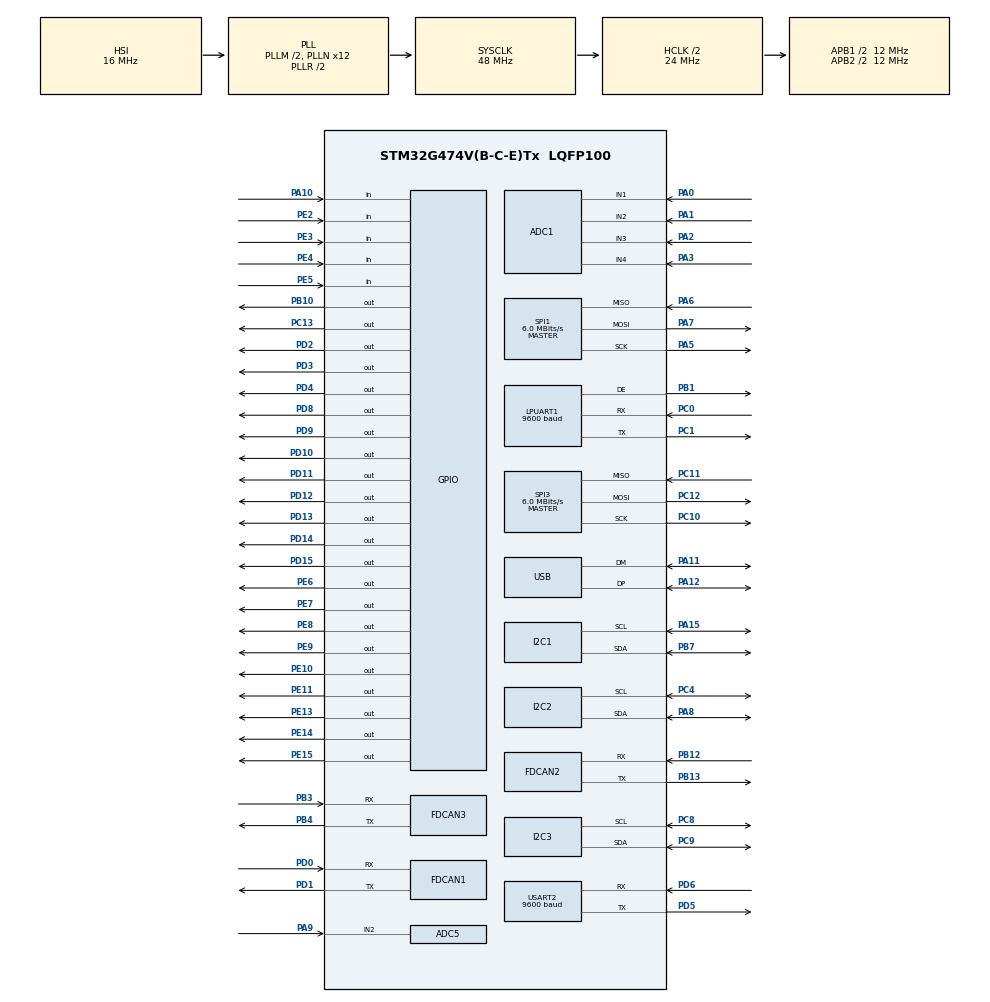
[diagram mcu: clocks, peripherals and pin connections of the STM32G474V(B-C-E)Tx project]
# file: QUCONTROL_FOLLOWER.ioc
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ADC1.Channel-4\#ChannelRegularConversion=ADC_CHANNEL_1
ADC1.Channel-5\#ChannelRegularConversion=ADC_CHANNEL_2
ADC1.Channel-6\#ChannelRegularConversion=ADC_CHANNEL_3
ADC1.Channel-7\#ChannelRegularConversion=ADC_CHANNEL_4
ADC1.ContinuousConvMode=ENABLE
ADC1.DiscontinuousConvMode=DISABLE
ADC1.EOCSelection=ADC_EOC_SEQ_CONV
ADC1.NbrOfConversion=4
ADC1.NbrOfConversionFlag=1
ADC1.OffsetNumber-4\#ChannelRegularConversion=ADC_OFFSET_NONE
ADC1.OffsetNumber-5\#ChannelRegularConversion=ADC_OFFSET_NONE
ADC1.OffsetNumber-6\#ChannelRegularConversion=ADC_OFFSET_NONE
ADC1.OffsetNumber-7\#ChannelRegularConversion=ADC_OFFSET_NONE
ADC1.Rank-4\#ChannelRegularConversion=1
ADC1.Rank-5\#ChannelRegularConversion=2
ADC1.Rank-6\#ChannelRegularConversion=3
ADC1.Rank-7\#ChannelRegularConversion=4
ADC1.SamplingTime-4\#ChannelRegularConversion=ADC_SAMPLETIME_2CYCLES_5
ADC1.SamplingTime-5\#ChannelRegularConversion=ADC_SAMPLETIME_2CYCLES_5
ADC1.SamplingTime-6\#ChannelRegularConversion=ADC_SAMPLETIME_2CYCLES_5
ADC1.SamplingTime-7\#ChannelRegularConversion=ADC_SAMPLETIME_2CYCLES_5
ADC1.master=1
ADC5.Channel-2\#ChannelRegularConversion=ADC_CHANNEL_2
ADC5.NbrOfConversionFlag=1
ADC5.OffsetNumber-2\#ChannelRegularConversion=ADC_OFFSET_NONE
ADC5.Rank-2\#ChannelRegularConversion=1
ADC5.SamplingTime-2\#ChannelRegularConversion=ADC_SAMPLETIME_2CYCLES_5
Dma.ADC1.0.Direction=DMA_PERIPH_TO_MEMORY
Dma.ADC1.0.EventEnable=DISABLE
Dma.ADC1.0.Instance=DMA1_Channel1
Dma.ADC1.0.MemDataAlignment=DMA_MDATAALIGN_WORD
Dma.ADC1.0.MemInc=DMA_MINC_ENABLE
Dma.ADC1.0.Mode=DMA_CIRCULAR
Dma.ADC1.0.PeriphDataAlignment=DMA_PDATAALIGN_WORD
Dma.ADC1.0.PeriphInc=DMA_PINC_DISABLE
Dma.ADC1.0.Polarity=HAL_DMAMUX_REQ_GEN_RISING
Dma.ADC1.0.Priority=DMA_PRIORITY_LOW
Dma.ADC1.0.RequestNumber=1
Dma.ADC1.0.SignalID=NONE
Dma.ADC1.0.SyncEnable=DISABLE
Dma.ADC1.0.SyncPolarity=HAL_DMAMUX_SYNC_NO_EVENT
Dma.ADC1.0.SyncRequestNumber=1
Dma.ADC1.0.SyncSignalID=NONE
Dma.ADC5.4.Direction=DMA_PERIPH_TO_MEMORY
Dma.ADC5.4.EventEnable=DISABLE
Dma.ADC5.4.Instance=DMA1_Channel5
Dma.ADC5.4.MemDataAlignment=DMA_MDATAALIGN_HALFWORD
Dma.ADC5.4.MemInc=DMA_MINC_ENABLE
Dma.ADC5.4.Mode=DMA_NORMAL
Dma.ADC5.4.PeriphDataAlignment=DMA_PDATAALIGN_HALFWORD
Dma.ADC5.4.PeriphInc=DMA_PINC_DISABLE
Dma.ADC5.4.Polarity=HAL_DMAMUX_REQ_GEN_RISING
Dma.ADC5.4.Priority=DMA_PRIORITY_LOW
Dma.ADC5.4.RequestNumber=1
Dma.ADC5.4.SignalID=NONE
Dma.ADC5.4.SyncEnable=DISABLE
Dma.ADC5.4.SyncPolarity=HAL_DMAMUX_SYNC_NO_EVENT
Dma.ADC5.4.SyncRequestNumber=1
Dma.ADC5.4.SyncSignalID=NONE
Dma.I2C1_RX.1.Direction=DMA_PERIPH_TO_MEMORY
Dma.I2C1_RX.1.EventEnable=DISABLE
Dma.I2C1_RX.1.Instance=DMA1_Channel2
Dma.I2C1_RX.1.MemDataAlignment=DMA_MDATAALIGN_BYTE
Dma.I2C1_RX.1.MemInc=DMA_MINC_ENABLE
Dma.I2C1_RX.1.Mode=DMA_NORMAL
Dma.I2C1_RX.1.PeriphDataAlignment=DMA_PDATAALIGN_BYTE
Dma.I2C1_RX.1.PeriphInc=DMA_PINC_DISABLE
Dma.I2C1_RX.1.Polarity=HAL_DMAMUX_REQ_GEN_RISING
Dma.I2C1_RX.1.Priority=DMA_PRIORITY_LOW
Dma.I2C1_RX.1.RequestNumber=1
Dma.I2C1_RX.1.SignalID=NONE
Dma.I2C1_RX.1.SyncEnable=DISABLE
Dma.I2C1_RX.1.SyncPolarity=HAL_DMAMUX_SYNC_NO_EVENT
Dma.I2C1_RX.1.SyncRequestNumber=1
Dma.I2C1_RX.1.SyncSignalID=NONE
Dma.I2C1_TX.2.Direction=DMA_MEMORY_TO_PERIPH
Dma.I2C1_TX.2.EventEnable=DISABLE
Dma.I2C1_TX.2.Instance=DMA1_Channel3
Dma.I2C1_TX.2.MemDataAlignment=DMA_MDATAALIGN_BYTE
Dma.I2C1_TX.2.MemInc=DMA_MINC_ENABLE
Dma.I2C1_TX.2.Mode=DMA_NORMAL
Dma.I2C1_TX.2.PeriphDataAlignment=DMA_PDATAALIGN_BYTE
Dma.I2C1_TX.2.PeriphInc=DMA_PINC_DISABLE
Dma.I2C1_TX.2.Polarity=HAL_DMAMUX_REQ_GEN_RISING
Dma.I2C1_TX.2.Priority=DMA_PRIORITY_LOW
Dma.I2C1_TX.2.RequestNumber=1
Dma.I2C1_TX.2.SignalID=NONE
Dma.I2C1_TX.2.SyncEnable=DISABLE
Dma.I2C1_TX.2.SyncPolarity=HAL_DMAMUX_SYNC_NO_EVENT
Dma.I2C1_TX.2.SyncRequestNumber=1
Dma.I2C1_TX.2.SyncSignalID=NONE
Dma.I2C3_RX.3.Direction=DMA_PERIPH_TO_MEMORY
Dma.I2C3_RX.3.EventEnable=DISABLE
Dma.I2C3_RX.3.Instance=DMA1_Channel4
Dma.I2C3_RX.3.MemDataAlignment=DMA_MDATAALIGN_BYTE
Dma.I2C3_RX.3.MemInc=DMA_MINC_ENABLE
Dma.I2C3_RX.3.Mode=DMA_NORMAL
Dma.I2C3_RX.3.PeriphDataAlignment=DMA_PDATAALIGN_BYTE
Dma.I2C3_RX.3.PeriphInc=DMA_PINC_DISABLE
Dma.I2C3_RX.3.Polarity=HAL_DMAMUX_REQ_GEN_RISING
Dma.I2C3_RX.3.Priority=DMA_PRIORITY_LOW
Dma.I2C3_RX.3.RequestNumber=1
Dma.I2C3_RX.3.SignalID=NONE
Dma.I2C3_RX.3.SyncEnable=DISABLE
Dma.I2C3_RX.3.SyncPolarity=HAL_DMAMUX_SYNC_NO_EVENT
Dma.I2C3_RX.3.SyncRequestNumber=1
Dma.I2C3_RX.3.SyncSignalID=NONE
Dma.Request0=ADC1
Dma.Request1=I2C1_RX
Dma.Request2=I2C1_TX
Dma.Request3=I2C3_RX
Dma.Request4=ADC5
FDCAN1.AutoRetransmission=ENABLE
FDCAN1.CalculateBaudRateNominal=141176
FDCAN1.CalculateTimeBitNominal=7083
FDCAN1.CalculateTimeQuantumNominal=41.666666666666664
FDCAN1.DataPrescaler=17
FDCAN1.DataSyncJumpWidth=4
FDCAN1.DataTimeSeg1=5
FDCAN1.DataTimeSeg2=4
FDCAN1.FrameFormat=FDCAN_FRAME_FD_BRS
FDCAN1.NominalPrescaler=2
FDCAN1.NominalSyncJumpWidth=2
FDCAN1.NominalTimeSeg1=167
FDCAN2.AutoRetransmission=ENABLE
FDCAN2.CalculateBaudRateNominal=141176
FDCAN2.CalculateTimeBitNominal=7083
FDCAN2.CalculateTimeQuantumNominal=41.666666666666664
FDCAN2.DataPrescaler=17
FDCAN2.DataSyncJumpWidth=4
FDCAN2.DataTimeSeg1=5
FDCAN2.DataTimeSeg2=4
FDCAN2.FrameFormat=FDCAN_FRAME_FD_BRS
FDCAN2.NominalPrescaler=2
FDCAN2.NominalSyncJumpWidth=2
FDCAN2.NominalTimeSeg1=167
FDCAN3.AutoRetransmission=ENABLE
FDCAN3.CalculateBaudRateNominal=141176
FDCAN3.CalculateTimeBitNominal=7083
FDCAN3.CalculateTimeQuantumNominal=41.666666666666664
FDCAN3.DataPrescaler=17
FDCAN3.DataSyncJumpWidth=4
FDCAN3.DataTimeSeg1=5
FDCAN3.DataTimeSeg2=4
FDCAN3.FrameFormat=FDCAN_FRAME_FD_BRS
FDCAN3.NominalPrescaler=2
FDCAN3.NominalSyncJumpWidth=2
FDCAN3.NominalTimeSeg1=167
I2C1.Timing=0x40000A0B
I2C2.Timing=0x40000A0B
I2C3.Timing=0x40000A0B
LPUART1.BaudRate=9600
LPUART1.StopBits=UART_STOPBITS_1
Mcu.Family=STM32G4
Mcu.Name=STM32G474V(B-C-E)Tx
Mcu.Package=LQFP100
NVIC.ADC1_2_IRQn=true\:0\:0\:false\:false\:true\:true\:true\:true
NVIC.DMA1_Channel1_IRQn=true\:0\:0\:false\:false\:true\:false\:true\:true
NVIC.DMA1_Channel2_IRQn=true\:0\:0\:false\:false\:true\:false\:true\:true
NVIC.DMA1_Channel3_IRQn=true\:0\:0\:false\:false\:true\:false\:true\:true
NVIC.DMA1_Channel4_IRQn=true\:0\:0\:false\:false\:true\:false\:true\:true
NVIC.DMA1_Channel5_IRQn=true\:0\:0\:false\:false\:true\:false\:true\:true
NVIC.FDCAN1_IT0_IRQn=true\:0\:0\:false\:false\:true\:true\:true\:true
NVIC.FDCAN2_IT0_IRQn=true\:0\:0\:false\:false\:true\:true\:true\:true
NVIC.FDCAN3_IT1_IRQn=true\:0\:0\:false\:false\:true\:true\:true\:true
NVIC.PriorityGroup=NVIC_PRIORITYGROUP_4
NVIC.TIM2_IRQn=true\:0\:0\:false\:false\:true\:true\:true\:true
NVIC.TIM6_DAC_IRQn=true\:0\:0\:false\:false\:true\:true\:true\:true
PA0.Mode=IN1-Single-Ended
PA0.Signal=ADC1_IN1
PA1.Mode=IN2-Single-Ended
PA1.Signal=ADC1_IN2
PA10.Signal=GPIO_Input
PA11.Mode=Device
PA11.Signal=USB_DM
PA12.Mode=Device
PA12.Signal=USB_DP
PA13.Mode=Serial_Wire
PA13.Signal=SYS_JTMS-SWDIO
PA14.Mode=Serial_Wire
PA14.Signal=SYS_JTCK-SWCLK
PA15.Mode=I2C
PA15.Signal=I2C1_SCL
PA2.Mode=IN3-Single-Ended
PA2.Signal=ADC1_IN3
PA3.Mode=IN4-Single-Ended
PA3.Signal=ADC1_IN4
PA5.Mode=Full_Duplex_Master
PA5.Signal=SPI1_SCK
PA6.Mode=Full_Duplex_Master
PA6.Signal=SPI1_MISO
PA7.Mode=Full_Duplex_Master
PA7.Signal=SPI1_MOSI
PA8.Mode=I2C
PA8.Signal=I2C2_SDA
PA9.Mode=IN2-Single-Ended
PA9.Signal=ADC5_IN2
PB1.Mode=Hardware Flow Control (RS485)
PB1.Signal=LPUART1_DE
PB10.PinState=GPIO_PIN_SET
PB10.Signal=GPIO_Output
PB12.Mode=FDCAN_Activate
PB12.Signal=FDCAN2_RX
PB13.Mode=FDCAN_Activate
PB13.Signal=FDCAN2_TX
PB3.Mode=FDCAN_Activate
PB3.Signal=FDCAN3_RX
PB4.Mode=FDCAN_Activate
PB4.Signal=FDCAN3_TX
PB7.Mode=I2C
PB7.Signal=I2C1_SDA
PC0.Mode=Asynchronous
PC0.Signal=LPUART1_RX
PC1.Mode=Asynchronous
PC1.Signal=LPUART1_TX
PC10.Mode=Full_Duplex_Master
PC10.Signal=SPI3_SCK
PC11.Mode=Full_Duplex_Master
PC11.Signal=SPI3_MISO
PC12.Mode=Full_Duplex_Master
PC12.Signal=SPI3_MOSI
PC13.Signal=GPIO_Output
PC4.Mode=I2C
PC4.Signal=I2C2_SCL
PC8.Mode=I2C
PC8.Signal=I2C3_SCL
PC9.Mode=I2C
PC9.Signal=I2C3_SDA
PD0.Mode=FDCAN_Activate
PD0.Signal=FDCAN1_RX
PD1.Mode=FDCAN_Activate
PD1.Signal=FDCAN1_TX
PD10.PinState=GPIO_PIN_SET
PD10.Signal=GPIO_Output
PD11.PinState=GPIO_PIN_SET
PD11.Signal=GPIO_Output
PD12.PinState=GPIO_PIN_SET
PD12.Signal=GPIO_Output
PD13.PinState=GPIO_PIN_SET
PD13.Signal=GPIO_Output
PD14.PinState=GPIO_PIN_SET
PD14.Signal=GPIO_Output
PD15.PinState=GPIO_PIN_SET
PD15.Signal=GPIO_Output
PD2.Signal=GPIO_Output
PD3.Signal=GPIO_Output
PD4.Signal=GPIO_Output
PD5.Mode=Asynchronous
PD5.Signal=USART2_TX
PD6.Mode=Asynchronous
PD6.Signal=USART2_RX
PD8.PinState=GPIO_PIN_SET
PD8.Signal=GPIO_Output
PD9.PinState=GPIO_PIN_SET
PD9.Signal=GPIO_Output
PE10.PinState=GPIO_PIN_SET
PE10.Signal=GPIO_Output
PE11.PinState=GPIO_PIN_SET
PE11.Signal=GPIO_Output
PE13.PinState=GPIO_PIN_SET
PE13.Signal=GPIO_Output
PE14.PinState=GPIO_PIN_SET
PE14.Signal=GPIO_Output
PE15.PinState=GPIO_PIN_SET
PE15.Signal=GPIO_Output
PE2.Signal=GPIO_Input
PE3.Signal=GPIO_Input
PE4.Signal=GPIO_Input
PE5.Signal=GPIO_Input
PE6.Signal=GPIO_Output
PE7.PinState=GPIO_PIN_SET
PE7.Signal=GPIO_Output
PE8.PinState=GPIO_PIN_SET
PE8.Signal=GPIO_Output
PE9.PinState=GPIO_PIN_SET
PE9.Signal=GPIO_Output
ProjectManager.HeapSize=0x200
ProjectManager.StackSize=0x400
ProjectManager.TargetToolchain=STM32CubeIDE
RCC.ADC12Freq_Value=48000000
RCC.ADC345Freq_Value=48000000
RCC.AHBCLKDivider=RCC_SYSCLK_DIV2
RCC.AHBFreq_Value=24000000
RCC.APB1CLKDivider=RCC_HCLK_DIV2
RCC.APB1Freq_Value=12000000
RCC.APB1TimFreq_Value=24000000
RCC.APB2CLKDivider=RCC_HCLK_DIV2
RCC.APB2Freq_Value=12000000
RCC.APB2TimFreq_Value=24000000
RCC.CK48CLockSelection=RCC_USBCLKSOURCE_HSI48
RCC.CortexFreq_Value=24000000
RCC.EXTERNAL_CLOCK_VALUE=12288000
RCC.FDCANCLockSelection=RCC_FDCANCLKSOURCE_PLL
RCC.HCLKFreq_Value=24000000
RCC.HSE_VALUE=8000000
RCC.HSI48_VALUE=48000000
RCC.HSI_VALUE=16000000
RCC.LPUART1CLockSelection=RCC_LPUART1CLKSOURCE_HSI
RCC.PLLM=RCC_PLLM_DIV2
RCC.PLLN=12
RCC.SYSCLKFreq_VALUE=48000000
RCC.SYSCLKSource=RCC_SYSCLKSOURCE_PLLCLK
RCC.USBFreq_Value=48000000
RCC.VCOOutputFreq_Value=96000000
SPI1.BaudRatePrescaler=SPI_BAUDRATEPRESCALER_2
SPI1.CalculateBaudRate=6.0 MBits/s
SPI1.Direction=SPI_DIRECTION_2LINES
SPI1.Mode=SPI_MODE_MASTER
SPI1.VirtualType=VM_MASTER
SPI3.BaudRatePrescaler=SPI_BAUDRATEPRESCALER_2
SPI3.CalculateBaudRate=6.0 MBits/s
SPI3.Direction=SPI_DIRECTION_2LINES
SPI3.Mode=SPI_MODE_MASTER
SPI3.VirtualType=VM_MASTER
TIM2.CounterMode=TIM_COUNTERMODE_DOWN
TIM2.PeriodNoDither=5000000
TIM2.Prescaler=1699
TIM6.PeriodNoDither=65358
TIM6.Prescaler=26009
USART2.BaudRate=9600
USART2.VirtualMode-Asynchronous=VM_ASYNC
USB.battery_charging_enable=DISABLE
VP_IWDG_VS_IWDG.Mode=IWDG_Activate
VP_SYS_VS_DBSignals.Mode=DisableDeadBatterySignals
VP_TIM2_VS_ClockSourceINT.Mode=Internal
VP_TIM6_VS_ClockSourceINT.Mode=Enable_Timer
board=custom

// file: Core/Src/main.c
/* USER CODE BEGIN Header */
/**
 ******************************************************************************
 * @file           : main.c
 * @brief          : Main program body
 ******************************************************************************
 * @attention
 *
 * Copyright (c) 2024 STMicroelectronics.
 * All rights reserved.
 *
 * This software is licensed under terms that can be found in the LICENSE file
 * in the root directory of this software component.
 * If no LICENSE file comes with this software, it is provided AS-IS.
 *
 ******************************************************************************
 */
/* USER CODE END Header */
#include "main.h"

/* USER CODE BEGIN Includes */
#include <string.h>
#include <stdio.h>

/* USER CODE END Includes */

/* USER CODE BEGIN PD */
uint8_t test = 0;
/* USER CODE END PD */

ADC_HandleTypeDef hadc1;
ADC_HandleTypeDef hadc5;
DMA_HandleTypeDef hdma_adc1;
DMA_HandleTypeDef hdma_adc5;

FDCAN_HandleTypeDef hfdcan1;
FDCAN_HandleTypeDef hfdcan2;
FDCAN_HandleTypeDef hfdcan3;

I2C_HandleTypeDef hi2c1;
I2C_HandleTypeDef hi2c2;
I2C_HandleTypeDef hi2c3;
DMA_HandleTypeDef hdma_i2c1_rx;
DMA_HandleTypeDef hdma_i2c1_tx;
DMA_HandleTypeDef hdma_i2c3_rx;

IWDG_HandleTypeDef hiwdg;

UART_HandleTypeDef hlpuart1;
UART_HandleTypeDef huart2;

SPI_HandleTypeDef hspi1;
SPI_HandleTypeDef hspi3;

TIM_HandleTypeDef htim2;
TIM_HandleTypeDef htim6;

PCD_HandleTypeDef hpcd_USB_FS;

/* USER CODE BEGIN PV */
volatile uint8_t Fault_Flag;
uint8_t ISO_STATE;
PodState Curr_State = INIT;

/* USER CODE END PV */

void SystemClock_Config(void);
static void MX_GPIO_Init(void);
static void MX_DMA_Init(void);
static void MX_ADC1_Init(void);
static void MX_FDCAN1_Init(void);
static void MX_FDCAN2_Init(void);
static void MX_FDCAN3_Init(void);
static void MX_I2C1_Init(void);
static void MX_SPI1_Init(void);
static void MX_USB_PCD_Init(void);
static void MX_I2C2_Init(void);
static void MX_IWDG_Init(void);
static void MX_ADC5_Init(void);
static void MX_I2C3_Init(void);
static void MX_SPI3_Init(void);
static void MX_LPUART1_UART_Init(void);
static void MX_TIM2_Init(void);
static void MX_USART2_UART_Init(void);
static void MX_TIM6_Init(void);

/* USER CODE BEGIN 0 */
uint8_t Run_State(PodState state) {
	uint8_t status = 0;

	switch (state) {
	case INIT:

		//if(TEMP_INIT() != TEMP_INIT_SUCCESS){
		//	return 1;
		//}
		/*if(acc_init() != ACC_INIT_OK){
		 return 1;
		 }
		 if(CAN_INIT() != CAN_INIT_OK){
		 return 1;
		 }*/

		pump_control(1);

		//UPDATE_TEMP();
		Curr_State = SAFE_TO_APPROACH;
		return 0;
		break;
	case FAULT:
		HV_off();
		yellowstatus(0);
		greenstatus(0);
		redstatus(1);
		pump_control(0);
		brake_state(0);

		return status;
		break;
	case SAFE_TO_APPROACH:
		/*HV_off();
		 yellowstatus(0);
		 greenstatus(0);
		 brake_state(1);*/

		return status;
		break;
	case READY:
		precharge();
		yellowstatus(1);
		brake_state(0);
		return status;
		break;
	case LAUNCH:
		yellowstatus(0);
		greenstatus(1);

		return status;
		break;
	case COAST:
		yellowstatus(0);
		greenstatus(1);

		return status;
		break;
	case BRAKE:
		yellowstatus(0);
		greenstatus(1);
		brake_state(1);

		return status;
		break;
	case CRAWL:
		yellowstatus(0);
		greenstatus(1);
		brake_state(0);

		return status;
		break;
	case TRACK:
		HV_off();
		yellowstatus(0);
		greenstatus(0);
		brake_state(0);

		return status;
		break;
	default:
		Curr_State = FAULT;
		//invalid state
		return 1;
		break;
	}
}

/* USER CODE END 0 */

int main(void)
{
  /* USER CODE BEGIN 1 */
	//uint16_t timer_val;
  /* USER CODE END 1 */

  /* MCU Configuration--------------------------------------------------------*/

  /* Reset of all peripherals, Initializes the Flash interface and the Systick. */
  HAL_Init();

  /* Configure the system clock */
  SystemClock_Config();

  /* Initialize all configured peripherals */
  MX_GPIO_Init();
  MX_DMA_Init();
  MX_ADC1_Init();
  MX_FDCAN1_Init();
  MX_FDCAN2_Init();
  MX_FDCAN3_Init();
  MX_I2C1_Init();
  MX_SPI1_Init();
  MX_USB_PCD_Init();
  MX_I2C2_Init();
  MX_IWDG_Init();
  MX_ADC5_Init();
  MX_I2C3_Init();
  MX_SPI3_Init();
  MX_LPUART1_UART_Init();
  MX_TIM2_Init();
  MX_USART2_UART_Init();
  MX_TIM6_Init();
  /* USER CODE BEGIN 2 */

	//timer_val = __HAL_TIM_GET_COUNTER(&htim6);

	//Fault_Flag = Run_State(Curr_State);
	//HAL_TIM_Base_Start_IT(&htim6);
	//HAL_TIM_Base_Start_IT(&htim6);
	//HAL_GPIO_WritePin(GPIOD, GPIO_PIN_11, GPIO_PIN_SET);
  /* USER CODE END 2 */

  /* Infinite loop */
  /* USER CODE BEGIN WHILE */
	while (1) {
		HAL_GPIO_TogglePin(GPIOD, GPIO_PIN_15);
		HAL_Delay(500);

		//Fault_Flag = Run_State(Curr_State);
		//if(Fault_Flag != 0){
		//  Curr_State = FAULT;
		// }

		//HAL_UART_Transmit(&huart2,(uint8_t *)temps[4],sizeof(temps[4]),100);

    /* USER CODE END WHILE */

	}
}

void SystemClock_Config(void)
{
  RCC_OscInitTypeDef RCC_OscInitStruct = {0};
  RCC_ClkInitTypeDef RCC_ClkInitStruct = {0};

  /** Configure the main internal regulator output voltage
  */
  HAL_PWREx_ControlVoltageScaling(PWR_REGULATOR_VOLTAGE_SCALE1);

  /** Initializes the RCC Oscillators according to the specified parameters
  * in the RCC_OscInitTypeDef structure.
  */
  RCC_OscInitStruct.OscillatorType = RCC_OSCILLATORTYPE_HSI|RCC_OSCILLATORTYPE_HSI48
                              |RCC_OSCILLATORTYPE_LSI;
  RCC_OscInitStruct.HSIState = RCC_HSI_ON;
  RCC_OscInitStruct.HSICalibrationValue = RCC_HSICALIBRATION_DEFAULT;
  RCC_OscInitStruct.LSIState = RCC_LSI_ON;
  RCC_OscInitStruct.HSI48State = RCC_HSI48_ON;
  RCC_OscInitStruct.PLL.PLLState = RCC_PLL_ON;
  RCC_OscInitStruct.PLL.PLLSource = RCC_PLLSOURCE_HSI;
  RCC_OscInitStruct.PLL.PLLM = RCC_PLLM_DIV2;
  RCC_OscInitStruct.PLL.PLLN = 12;
  RCC_OscInitStruct.PLL.PLLP = RCC_PLLP_DIV2;
  RCC_OscInitStruct.PLL.PLLQ = RCC_PLLQ_DIV2;
  RCC_OscInitStruct.PLL.PLLR = RCC_PLLR_DIV2;
  if (HAL_RCC_OscConfig(&RCC_OscInitStruct) != HAL_OK)
  {
    Error_Handler();
  }

  /** Initializes the CPU, AHB and APB buses clocks
  */
  RCC_ClkInitStruct.ClockType = RCC_CLOCKTYPE_HCLK|RCC_CLOCKTYPE_SYSCLK
                              |RCC_CLOCKTYPE_PCLK1|RCC_CLOCKTYPE_PCLK2;
  RCC_ClkInitStruct.SYSCLKSource = RCC_SYSCLKSOURCE_PLLCLK;
  RCC_ClkInitStruct.AHBCLKDivider = RCC_SYSCLK_DIV2;
  RCC_ClkInitStruct.APB1CLKDivider = RCC_HCLK_DIV2;
  RCC_ClkInitStruct.APB2CLKDivider = RCC_HCLK_DIV2;

  if (HAL_RCC_ClockConfig(&RCC_ClkInitStruct, FLASH_LATENCY_0) != HAL_OK)
  {
    Error_Handler();
  }
}

static void MX_ADC1_Init(void)
{

  ADC_MultiModeTypeDef multimode = {0};
  ADC_ChannelConfTypeDef sConfig = {0};

  /** Common config
  */
  hadc1.Instance = ADC1;
  hadc1.Init.ClockPrescaler = ADC_CLOCK_SYNC_PCLK_DIV2;
  hadc1.Init.Resolution = ADC_RESOLUTION_12B;
  hadc1.Init.DataAlign = ADC_DATAALIGN_RIGHT;
  hadc1.Init.GainCompensation = 0;
  hadc1.Init.ScanConvMode = ADC_SCAN_ENABLE;
  hadc1.Init.EOCSelection = ADC_EOC_SEQ_CONV;
  hadc1.Init.LowPowerAutoWait = DISABLE;
  hadc1.Init.ContinuousConvMode = ENABLE;
  hadc1.Init.NbrOfConversion = 4;
  hadc1.Init.DiscontinuousConvMode = DISABLE;
  hadc1.Init.ExternalTrigConv = ADC_SOFTWARE_START;
  hadc1.Init.ExternalTrigConvEdge = ADC_EXTERNALTRIGCONVEDGE_NONE;
  hadc1.Init.DMAContinuousRequests = DISABLE;
  hadc1.Init.Overrun = ADC_OVR_DATA_PRESERVED;
  hadc1.Init.OversamplingMode = DISABLE;
  if (HAL_ADC_Init(&hadc1) != HAL_OK)
  {
    Error_Handler();
  }

  /** Configure the ADC multi-mode
  */
  multimode.Mode = ADC_MODE_INDEPENDENT;
  if (HAL_ADCEx_MultiModeConfigChannel(&hadc1, &multimode) != HAL_OK)
  {
    Error_Handler();
  }

  /** Configure Regular Channel
  */
  sConfig.Channel = ADC_CHANNEL_1;
  sConfig.Rank = ADC_REGULAR_RANK_1;
  sConfig.SamplingTime = ADC_SAMPLETIME_2CYCLES_5;
  sConfig.SingleDiff = ADC_SINGLE_ENDED;
  sConfig.OffsetNumber = ADC_OFFSET_NONE;
  sConfig.Offset = 0;
  if (HAL_ADC_ConfigChannel(&hadc1, &sConfig) != HAL_OK)
  {
    Error_Handler();
  }

  /** Configure Regular Channel
  */
  sConfig.Channel = ADC_CHANNEL_2;
  sConfig.Rank = ADC_REGULAR_RANK_2;
  if (HAL_ADC_ConfigChannel(&hadc1, &sConfig) != HAL_OK)
  {
    Error_Handler();
  }

  /** Configure Regular Channel
  */
  sConfig.Channel = ADC_CHANNEL_3;
  sConfig.Rank = ADC_REGULAR_RANK_3;
  if (HAL_ADC_ConfigChannel(&hadc1, &sConfig) != HAL_OK)
  {
    Error_Handler();
  }

  /** Configure Regular Channel
  */
  sConfig.Channel = ADC_CHANNEL_4;
  sConfig.Rank = ADC_REGULAR_RANK_4;
  if (HAL_ADC_ConfigChannel(&hadc1, &sConfig) != HAL_OK)
  {
    Error_Handler();
  }

}

static void MX_ADC5_Init(void)
{

  ADC_ChannelConfTypeDef sConfig = {0};

  /** Common config
  */
  hadc5.Instance = ADC5;
  hadc5.Init.ClockPrescaler = ADC_CLOCK_SYNC_PCLK_DIV2;
  hadc5.Init.Resolution = ADC_RESOLUTION_12B;
  hadc5.Init.DataAlign = ADC_DATAALIGN_RIGHT;
  hadc5.Init.GainCompensation = 0;
  hadc5.Init.ScanConvMode = ADC_SCAN_DISABLE;
  hadc5.Init.EOCSelection = ADC_EOC_SINGLE_CONV;
  hadc5.Init.LowPowerAutoWait = DISABLE;
  hadc5.Init.ContinuousConvMode = DISABLE;
  hadc5.Init.NbrOfConversion = 1;
  hadc5.Init.DiscontinuousConvMode = DISABLE;
  hadc5.Init.ExternalTrigConv = ADC_SOFTWARE_START;
  hadc5.Init.ExternalTrigConvEdge = ADC_EXTERNALTRIGCONVEDGE_NONE;
  hadc5.Init.DMAContinuousRequests = DISABLE;
  hadc5.Init.Overrun = ADC_OVR_DATA_PRESERVED;
  hadc5.Init.OversamplingMode = DISABLE;
  if (HAL_ADC_Init(&hadc5) != HAL_OK)
  {
    Error_Handler();
  }

  /** Configure Regular Channel
  */
  sConfig.Channel = ADC_CHANNEL_2;
  sConfig.Rank = ADC_REGULAR_RANK_1;
  sConfig.SamplingTime = ADC_SAMPLETIME_2CYCLES_5;
  sConfig.SingleDiff = ADC_SINGLE_ENDED;
  sConfig.OffsetNumber = ADC_OFFSET_NONE;
  sConfig.Offset = 0;
  if (HAL_ADC_ConfigChannel(&hadc5, &sConfig) != HAL_OK)
  {
    Error_Handler();
  }

}

static void MX_FDCAN1_Init(void)
{

  hfdcan1.Instance = FDCAN1;
  hfdcan1.Init.ClockDivider = FDCAN_CLOCK_DIV1;
  hfdcan1.Init.FrameFormat = FDCAN_FRAME_FD_BRS;
  hfdcan1.Init.Mode = FDCAN_MODE_NORMAL;
  hfdcan1.Init.AutoRetransmission = ENABLE;
  hfdcan1.Init.TransmitPause = DISABLE;
  hfdcan1.Init.ProtocolException = DISABLE;
  hfdcan1.Init.NominalPrescaler = 2;
  hfdcan1.Init.NominalSyncJumpWidth = 2;
  hfdcan1.Init.NominalTimeSeg1 = 167;
  hfdcan1.Init.NominalTimeSeg2 = 2;
  hfdcan1.Init.DataPrescaler = 17;
  hfdcan1.Init.DataSyncJumpWidth = 4;
  hfdcan1.Init.DataTimeSeg1 = 5;
  hfdcan1.Init.DataTimeSeg2 = 4;
  hfdcan1.Init.StdFiltersNbr = 0;
  hfdcan1.Init.ExtFiltersNbr = 0;
  hfdcan1.Init.TxFifoQueueMode = FDCAN_TX_FIFO_OPERATION;
  if (HAL_FDCAN_Init(&hfdcan1) != HAL_OK)
  {
    Error_Handler();
  }

}

static void MX_FDCAN2_Init(void)
{

  hfdcan2.Instance = FDCAN2;
  hfdcan2.Init.ClockDivider = FDCAN_CLOCK_DIV1;
  hfdcan2.Init.FrameFormat = FDCAN_FRAME_FD_BRS;
  hfdcan2.Init.Mode = FDCAN_MODE_NORMAL;
  hfdcan2.Init.AutoRetransmission = ENABLE;
  hfdcan2.Init.TransmitPause = DISABLE;
  hfdcan2.Init.ProtocolException = DISABLE;
  hfdcan2.Init.NominalPrescaler = 2;
  hfdcan2.Init.NominalSyncJumpWidth = 2;
  hfdcan2.Init.NominalTimeSeg1 = 167;
  hfdcan2.Init.NominalTimeSeg2 = 2;
  hfdcan2.Init.DataPrescaler = 17;
  hfdcan2.Init.DataSyncJumpWidth = 4;
  hfdcan2.Init.DataTimeSeg1 = 5;
  hfdcan2.Init.DataTimeSeg2 = 4;
  hfdcan2.Init.StdFiltersNbr = 0;
  hfdcan2.Init.ExtFiltersNbr = 0;
  hfdcan2.Init.TxFifoQueueMode = FDCAN_TX_FIFO_OPERATION;
  if (HAL_FDCAN_Init(&hfdcan2) != HAL_OK)
  {
    Error_Handler();
  }

}

static void MX_FDCAN3_Init(void)
{

  hfdcan3.Instance = FDCAN3;
  hfdcan3.Init.ClockDivider = FDCAN_CLOCK_DIV1;
  hfdcan3.Init.FrameFormat = FDCAN_FRAME_FD_BRS;
  hfdcan3.Init.Mode = FDCAN_MODE_NORMAL;
  hfdcan3.Init.AutoRetransmission = ENABLE;
  hfdcan3.Init.TransmitPause = DISABLE;
  hfdcan3.Init.ProtocolException = DISABLE;
  hfdcan3.Init.NominalPrescaler = 2;
  hfdcan3.Init.NominalSyncJumpWidth = 2;
  hfdcan3.Init.NominalTimeSeg1 = 167;
  hfdcan3.Init.NominalTimeSeg2 = 2;
  hfdcan3.Init.DataPrescaler = 17;
  hfdcan3.Init.DataSyncJumpWidth = 4;
  hfdcan3.Init.DataTimeSeg1 = 5;
  hfdcan3.Init.DataTimeSeg2 = 4;
  hfdcan3.Init.StdFiltersNbr = 0;
  hfdcan3.Init.ExtFiltersNbr = 0;
  hfdcan3.Init.TxFifoQueueMode = FDCAN_TX_FIFO_OPERATION;
  if (HAL_FDCAN_Init(&hfdcan3) != HAL_OK)
  {
    Error_Handler();
  }

}

static void MX_I2C1_Init(void)
{

  hi2c1.Instance = I2C1;
  hi2c1.Init.Timing = 0x40000A0B;
  hi2c1.Init.OwnAddress1 = 0;
  hi2c1.Init.AddressingMode = I2C_ADDRESSINGMODE_7BIT;
  hi2c1.Init.DualAddressMode = I2C_DUALADDRESS_DISABLE;
  hi2c1.Init.OwnAddress2 = 0;
  hi2c1.Init.OwnAddress2Masks = I2C_OA2_NOMASK;
  hi2c1.Init.GeneralCallMode = I2C_GENERALCALL_DISABLE;
  hi2c1.Init.NoStretchMode = I2C_NOSTRETCH_DISABLE;
  if (HAL_I2C_Init(&hi2c1) != HAL_OK)
  {
    Error_Handler();
  }

  /** Configure Analogue filter
  */
  if (HAL_I2CEx_ConfigAnalogFilter(&hi2c1, I2C_ANALOGFILTER_ENABLE) != HAL_OK)
  {
    Error_Handler();
  }

  /** Configure Digital filter
  */
  if (HAL_I2CEx_ConfigDigitalFilter(&hi2c1, 0) != HAL_OK)
  {
    Error_Handler();
  }

}

static void MX_I2C2_Init(void)
{

  hi2c2.Instance = I2C2;
  hi2c2.Init.Timing = 0x40000A0B;
  hi2c2.Init.OwnAddress1 = 0;
  hi2c2.Init.AddressingMode = I2C_ADDRESSINGMODE_7BIT;
  hi2c2.Init.DualAddressMode = I2C_DUALADDRESS_DISABLE;
  hi2c2.Init.OwnAddress2 = 0;
  hi2c2.Init.OwnAddress2Masks = I2C_OA2_NOMASK;
  hi2c2.Init.GeneralCallMode = I2C_GENERALCALL_DISABLE;
  hi2c2.Init.NoStretchMode = I2C_NOSTRETCH_DISABLE;
  if (HAL_I2C_Init(&hi2c2) != HAL_OK)
  {
    Error_Handler();
  }

  /** Configure Analogue filter
  */
  if (HAL_I2CEx_ConfigAnalogFilter(&hi2c2, I2C_ANALOGFILTER_ENABLE) != HAL_OK)
  {
    Error_Handler();
  }

  /** Configure Digital filter
  */
  if (HAL_I2CEx_ConfigDigitalFilter(&hi2c2, 0) != HAL_OK)
  {
    Error_Handler();
  }

}

static void MX_I2C3_Init(void)
{

  hi2c3.Instance = I2C3;
  hi2c3.Init.Timing = 0x40000A0B;
  hi2c3.Init.OwnAddress1 = 0;
  hi2c3.Init.AddressingMode = I2C_ADDRESSINGMODE_7BIT;
  hi2c3.Init.DualAddressMode = I2C_DUALADDRESS_DISABLE;
  hi2c3.Init.OwnAddress2 = 0;
  hi2c3.Init.OwnAddress2Masks = I2C_OA2_NOMASK;
  hi2c3.Init.GeneralCallMode = I2C_GENERALCALL_DISABLE;
  hi2c3.Init.NoStretchMode = I2C_NOSTRETCH_DISABLE;
  if (HAL_I2C_Init(&hi2c3) != HAL_OK)
  {
    Error_Handler();
  }

  /** Configure Analogue filter
  */
  if (HAL_I2CEx_ConfigAnalogFilter(&hi2c3, I2C_ANALOGFILTER_ENABLE) != HAL_OK)
  {
    Error_Handler();
  }

  /** Configure Digital filter
  */
  if (HAL_I2CEx_ConfigDigitalFilter(&hi2c3, 0) != HAL_OK)
  {
    Error_Handler();
  }

}

static void MX_IWDG_Init(void)
{

  hiwdg.Instance = IWDG;
  hiwdg.Init.Prescaler = IWDG_PRESCALER_4;
  hiwdg.Init.Window = 4095;
  hiwdg.Init.Reload = 4095;
  if (HAL_IWDG_Init(&hiwdg) != HAL_OK)
  {
    Error_Handler();
  }

}

static void MX_LPUART1_UART_Init(void)
{

  hlpuart1.Instance = LPUART1;
  hlpuart1.Init.BaudRate = 9600;
  hlpuart1.Init.WordLength = UART_WORDLENGTH_8B;
  hlpuart1.Init.StopBits = UART_STOPBITS_1;
  hlpuart1.Init.Parity = UART_PARITY_NONE;
  hlpuart1.Init.Mode = UART_MODE_TX_RX;
  hlpuart1.Init.HwFlowCtl = UART_HWCONTROL_NONE;
  hlpuart1.Init.OneBitSampling = UART_ONE_BIT_SAMPLE_DISABLE;
  hlpuart1.Init.ClockPrescaler = UART_PRESCALER_DIV1;
  hlpuart1.AdvancedInit.AdvFeatureInit = UART_ADVFEATURE_NO_INIT;
  if (HAL_RS485Ex_Init(&hlpuart1, UART_DE_POLARITY_HIGH, 0, 0) != HAL_OK)
  {
    Error_Handler();
  }
  if (HAL_UARTEx_SetTxFifoThreshold(&hlpuart1, UART_TXFIFO_THRESHOLD_1_8) != HAL_OK)
  {
    Error_Handler();
  }
  if (HAL_UARTEx_SetRxFifoThreshold(&hlpuart1, UART_RXFIFO_THRESHOLD_1_8) != HAL_OK)
  {
    Error_Handler();
  }
  if (HAL_UARTEx_DisableFifoMode(&hlpuart1) != HAL_OK)
  {
    Error_Handler();
  }

}

static void MX_USART2_UART_Init(void)
{

  huart2.Instance = USART2;
  huart2.Init.BaudRate = 9600;
  huart2.Init.WordLength = UART_WORDLENGTH_8B;
  huart2.Init.StopBits = UART_STOPBITS_1;
  huart2.Init.Parity = UART_PARITY_NONE;
  huart2.Init.Mode = UART_MODE_TX_RX;
  huart2.Init.HwFlowCtl = UART_HWCONTROL_NONE;
  huart2.Init.OverSampling = UART_OVERSAMPLING_16;
  huart2.Init.OneBitSampling = UART_ONE_BIT_SAMPLE_DISABLE;
  huart2.Init.ClockPrescaler = UART_PRESCALER_DIV1;
  huart2.AdvancedInit.AdvFeatureInit = UART_ADVFEATURE_NO_INIT;
  if (HAL_UART_Init(&huart2) != HAL_OK)
  {
    Error_Handler();
  }
  if (HAL_UARTEx_SetTxFifoThreshold(&huart2, UART_TXFIFO_THRESHOLD_1_8) != HAL_OK)
  {
    Error_Handler();
  }
  if (HAL_UARTEx_SetRxFifoThreshold(&huart2, UART_RXFIFO_THRESHOLD_1_8) != HAL_OK)
  {
    Error_Handler();
  }
  if (HAL_UARTEx_DisableFifoMode(&huart2) != HAL_OK)
  {
    Error_Handler();
  }

}

static void MX_SPI1_Init(void)
{

  /* SPI1 parameter configuration*/
  hspi1.Instance = SPI1;
  hspi1.Init.Mode = SPI_MODE_MASTER;
  hspi1.Init.Direction = SPI_DIRECTION_2LINES;
  hspi1.Init.DataSize = SPI_DATASIZE_4BIT;
  hspi1.Init.CLKPolarity = SPI_POLARITY_LOW;
  hspi1.Init.CLKPhase = SPI_PHASE_1EDGE;
  hspi1.Init.NSS = SPI_NSS_SOFT;
  hspi1.Init.BaudRatePrescaler = SPI_BAUDRATEPRESCALER_2;
  hspi1.Init.FirstBit = SPI_FIRSTBIT_MSB;
  hspi1.Init.TIMode = SPI_TIMODE_DISABLE;
  hspi1.Init.CRCCalculation = SPI_CRCCALCULATION_DISABLE;
  hspi1.Init.CRCPolynomial = 7;
  hspi1.Init.CRCLength = SPI_CRC_LENGTH_DATASIZE;
  hspi1.Init.NSSPMode = SPI_NSS_PULSE_ENABLE;
  if (HAL_SPI_Init(&hspi1) != HAL_OK)
  {
    Error_Handler();
  }

}

static void MX_SPI3_Init(void)
{

  /* SPI3 parameter configuration*/
  hspi3.Instance = SPI3;
  hspi3.Init.Mode = SPI_MODE_MASTER;
  hspi3.Init.Direction = SPI_DIRECTION_2LINES;
  hspi3.Init.DataSize = SPI_DATASIZE_4BIT;
  hspi3.Init.CLKPolarity = SPI_POLARITY_LOW;
  hspi3.Init.CLKPhase = SPI_PHASE_1EDGE;
  hspi3.Init.NSS = SPI_NSS_SOFT;
  hspi3.Init.BaudRatePrescaler = SPI_BAUDRATEPRESCALER_2;
  hspi3.Init.FirstBit = SPI_FIRSTBIT_MSB;
  hspi3.Init.TIMode = SPI_TIMODE_DISABLE;
  hspi3.Init.CRCCalculation = SPI_CRCCALCULATION_DISABLE;
  hspi3.Init.CRCPolynomial = 7;
  hspi3.Init.CRCLength = SPI_CRC_LENGTH_DATASIZE;
  hspi3.Init.NSSPMode = SPI_NSS_PULSE_ENABLE;
  if (HAL_SPI_Init(&hspi3) != HAL_OK)
  {
    Error_Handler();
  }

}

static void MX_TIM2_Init(void)
{

  TIM_ClockConfigTypeDef sClockSourceConfig = {0};
  TIM_MasterConfigTypeDef sMasterConfig = {0};

  htim2.Instance = TIM2;
  htim2.Init.Prescaler = 1699;
  htim2.Init.CounterMode = TIM_COUNTERMODE_DOWN;
  htim2.Init.Period = 5000000;
  htim2.Init.ClockDivision = TIM_CLOCKDIVISION_DIV1;
  htim2.Init.AutoReloadPreload = TIM_AUTORELOAD_PRELOAD_DISABLE;
  if (HAL_TIM_Base_Init(&htim2) != HAL_OK)
  {
    Error_Handler();
  }
  sClockSourceConfig.ClockSource = TIM_CLOCKSOURCE_INTERNAL;
  if (HAL_TIM_ConfigClockSource(&htim2, &sClockSourceConfig) != HAL_OK)
  {
    Error_Handler();
  }
  sMasterConfig.MasterOutputTrigger = TIM_TRGO_RESET;
  sMasterConfig.MasterSlaveMode = TIM_MASTERSLAVEMODE_DISABLE;
  if (HAL_TIMEx_MasterConfigSynchronization(&htim2, &sMasterConfig) != HAL_OK)
  {
    Error_Handler();
  }

}

static void MX_TIM6_Init(void)
{

  TIM_MasterConfigTypeDef sMasterConfig = {0};

  htim6.Instance = TIM6;
  htim6.Init.Prescaler = 26009;
  htim6.Init.CounterMode = TIM_COUNTERMODE_UP;
  htim6.Init.Period = 65358;
  htim6.Init.AutoReloadPreload = TIM_AUTORELOAD_PRELOAD_DISABLE;
  if (HAL_TIM_Base_Init(&htim6) != HAL_OK)
  {
    Error_Handler();
  }
  sMasterConfig.MasterOutputTrigger = TIM_TRGO_RESET;
  sMasterConfig.MasterSlaveMode = TIM_MASTERSLAVEMODE_DISABLE;
  if (HAL_TIMEx_MasterConfigSynchronization(&htim6, &sMasterConfig) != HAL_OK)
  {
    Error_Handler();
  }

}

static void MX_USB_PCD_Init(void)
{

  hpcd_USB_FS.Instance = USB;
  hpcd_USB_FS.Init.dev_endpoints = 8;
  hpcd_USB_FS.Init.speed = PCD_SPEED_FULL;
  hpcd_USB_FS.Init.phy_itface = PCD_PHY_EMBEDDED;
  hpcd_USB_FS.Init.Sof_enable = DISABLE;
  hpcd_USB_FS.Init.low_power_enable = DISABLE;
  hpcd_USB_FS.Init.lpm_enable = DISABLE;
  hpcd_USB_FS.Init.battery_charging_enable = DISABLE;
  if (HAL_PCD_Init(&hpcd_USB_FS) != HAL_OK)
  {
    Error_Handler();
  }

}

static void MX_DMA_Init(void)
{

  /* DMA controller clock enable */
  __HAL_RCC_DMAMUX1_CLK_ENABLE();
  __HAL_RCC_DMA1_CLK_ENABLE();

  /* DMA interrupt init */
  /* DMA1_Channel1_IRQn interrupt configuration */
  HAL_NVIC_SetPriority(DMA1_Channel1_IRQn, 0, 0);
  HAL_NVIC_EnableIRQ(DMA1_Channel1_IRQn);
  /* DMA1_Channel2_IRQn interrupt configuration */
  HAL_NVIC_SetPriority(DMA1_Channel2_IRQn, 0, 0);
  HAL_NVIC_EnableIRQ(DMA1_Channel2_IRQn);
  /* DMA1_Channel3_IRQn interrupt configuration */
  HAL_NVIC_SetPriority(DMA1_Channel3_IRQn, 0, 0);
  HAL_NVIC_EnableIRQ(DMA1_Channel3_IRQn);
  /* DMA1_Channel4_IRQn interrupt configuration */
  HAL_NVIC_SetPriority(DMA1_Channel4_IRQn, 0, 0);
  HAL_NVIC_EnableIRQ(DMA1_Channel4_IRQn);
  /* DMA1_Channel5_IRQn interrupt configuration */
  HAL_NVIC_SetPriority(DMA1_Channel5_IRQn, 0, 0);
  HAL_NVIC_EnableIRQ(DMA1_Channel5_IRQn);

}

static void MX_GPIO_Init(void)
{
  GPIO_InitTypeDef GPIO_InitStruct = {0};

  /* GPIO Ports Clock Enable */
  __HAL_RCC_GPIOE_CLK_ENABLE();
  __HAL_RCC_GPIOC_CLK_ENABLE();
  __HAL_RCC_GPIOA_CLK_ENABLE();
  __HAL_RCC_GPIOB_CLK_ENABLE();
  __HAL_RCC_GPIOD_CLK_ENABLE();

  /*Configure GPIO pin Output Level */
  HAL_GPIO_WritePin(GPIOE, GPIO_PIN_6, GPIO_PIN_RESET);

  /*Configure GPIO pin Output Level */
  HAL_GPIO_WritePin(GPIOC, GPIO_PIN_13, GPIO_PIN_RESET);

  /*Configure GPIO pin Output Level */
  HAL_GPIO_WritePin(GPIOE, GPIO_PIN_7|GPIO_PIN_8|GPIO_PIN_9|GPIO_PIN_10
                          |GPIO_PIN_11|GPIO_PIN_13|GPIO_PIN_14|GPIO_PIN_15, GPIO_PIN_SET);

  /*Configure GPIO pin Output Level */
  HAL_GPIO_WritePin(GPIOB, GPIO_PIN_10, GPIO_PIN_SET);

  /*Configure GPIO pin Output Level */
  HAL_GPIO_WritePin(GPIOD, GPIO_PIN_8|GPIO_PIN_9|GPIO_PIN_10|GPIO_PIN_11
                          |GPIO_PIN_12|GPIO_PIN_13|GPIO_PIN_14|GPIO_PIN_15, GPIO_PIN_SET);

  /*Configure GPIO pin Output Level */
  HAL_GPIO_WritePin(GPIOD, GPIO_PIN_2|GPIO_PIN_3|GPIO_PIN_4, GPIO_PIN_RESET);

  /*Configure GPIO pins : PE2 PE3 PE4 PE5 */
  GPIO_InitStruct.Pin = GPIO_PIN_2|GPIO_PIN_3|GPIO_PIN_4|GPIO_PIN_5;
  GPIO_InitStruct.Mode = GPIO_MODE_INPUT;
  GPIO_InitStruct.Pull = GPIO_NOPULL;
  HAL_GPIO_Init(GPIOE, &GPIO_InitStruct);

  /*Configure GPIO pins : PE6 PE7 PE8 PE9
                           PE10 PE11 PE13 PE14
                           PE15 */
  GPIO_InitStruct.Pin = GPIO_PIN_6|GPIO_PIN_7|GPIO_PIN_8|GPIO_PIN_9
                          |GPIO_PIN_10|GPIO_PIN_11|GPIO_PIN_13|GPIO_PIN_14
                          |GPIO_PIN_15;
  GPIO_InitStruct.Mode = GPIO_MODE_OUTPUT_PP;
  GPIO_InitStruct.Pull = GPIO_NOPULL;
  GPIO_InitStruct.Speed = GPIO_SPEED_FREQ_LOW;
  HAL_GPIO_Init(GPIOE, &GPIO_InitStruct);

  /*Configure GPIO pin : PC13 */
  GPIO_InitStruct.Pin = GPIO_PIN_13;
  GPIO_InitStruct.Mode = GPIO_MODE_OUTPUT_PP;
  GPIO_InitStruct.Pull = GPIO_NOPULL;
  GPIO_InitStruct.Speed = GPIO_SPEED_FREQ_LOW;
  HAL_GPIO_Init(GPIOC, &GPIO_InitStruct);

  /*Configure GPIO pin : PB10 */
  GPIO_InitStruct.Pin = GPIO_PIN_10;
  GPIO_InitStruct.Mode = GPIO_MODE_OUTPUT_PP;
  GPIO_InitStruct.Pull = GPIO_NOPULL;
  GPIO_InitStruct.Speed = GPIO_SPEED_FREQ_LOW;
  HAL_GPIO_Init(GPIOB, &GPIO_InitStruct);

  /*Configure GPIO pins : PD8 PD9 PD10 PD11
                           PD12 PD13 PD14 PD15
                           PD2 PD3 PD4 */
  GPIO_InitStruct.Pin = GPIO_PIN_8|GPIO_PIN_9|GPIO_PIN_10|GPIO_PIN_11
                          |GPIO_PIN_12|GPIO_PIN_13|GPIO_PIN_14|GPIO_PIN_15
                          |GPIO_PIN_2|GPIO_PIN_3|GPIO_PIN_4;
  GPIO_InitStruct.Mode = GPIO_MODE_OUTPUT_PP;
  GPIO_InitStruct.Pull = GPIO_NOPULL;
  GPIO_InitStruct.Speed = GPIO_SPEED_FREQ_LOW;
  HAL_GPIO_Init(GPIOD, &GPIO_InitStruct);

  /*Configure GPIO pin : PA10 */
  GPIO_InitStruct.Pin = GPIO_PIN_10;
  GPIO_InitStruct.Mode = GPIO_MODE_INPUT;
  GPIO_InitStruct.Pull = GPIO_NOPULL;
  HAL_GPIO_Init(GPIOA, &GPIO_InitStruct);

}

/* USER CODE BEGIN 4 */
void HAL_TIM_PeriodElapsedCallback(TIM_HandleTypeDef *htim) {
	test = test + 1;
	//UPDATE_TEMP();
	if (htim == &htim6) {

		//UPDATE_TEMP();
		//Fault_Flag = IMD_Req_Isolation();
	}
	if (htim == &htim2) {
		HV_on();
		HAL_TIM_Base_Stop_IT(&htim2);
	}
}
/* USER CODE END 4 */

void Error_Handler(void)
{
	__disable_irq();
	while (1) {
	}
}
